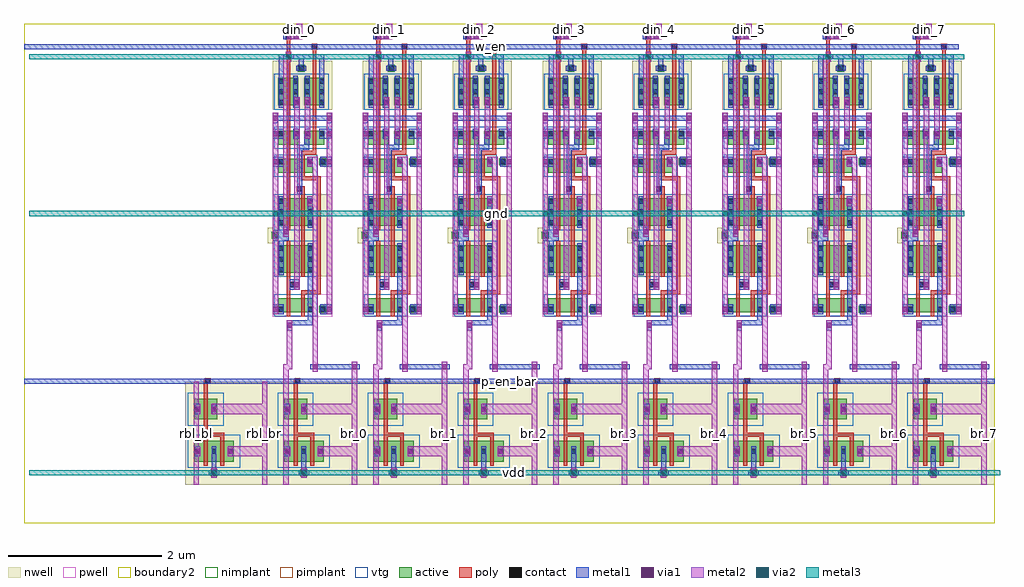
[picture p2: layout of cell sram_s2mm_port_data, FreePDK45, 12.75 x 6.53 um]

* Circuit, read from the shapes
.subckt sram_s2mm_port_data bl_0 bl_1 bl_2 bl_3 bl_4 bl_5 bl_6 bl_7 br_0 br_1 br_2 br_3 br_4 br_5 br_6 br_7 din_0 din_1 din_2 din_3 din_4 din_5 din_6 din_7 gnd p_en_bar rbl_bl rbl_br vdd w_en
M1 n1 n2 gnd gnd nfet w=0.18u l=0.05u
M2 n3 din_0 gnd gnd nfet w=0.18u l=0.05u
M3 n2 din_0 gnd gnd nfet w=0.18u l=0.05u
M4 bl_0 w_en n1 gnd nfet w=0.18u l=0.05u
M5 br_0 w_en n3 gnd nfet w=0.18u l=0.05u
M6 gnd w_en n4 gnd nfet w=0.18u l=0.05u
M7 n5 n6 gnd gnd nfet w=0.18u l=0.05u
M8 n7 din_1 gnd gnd nfet w=0.18u l=0.05u
M9 n6 din_1 gnd gnd nfet w=0.18u l=0.05u
M10 bl_1 w_en n5 gnd nfet w=0.18u l=0.05u
M11 br_1 w_en n7 gnd nfet w=0.18u l=0.05u
M12 gnd w_en n8 gnd nfet w=0.18u l=0.05u
M13 n9 n10 gnd gnd nfet w=0.18u l=0.05u
M14 n11 din_2 gnd gnd nfet w=0.18u l=0.05u
M15 n10 din_2 gnd gnd nfet w=0.18u l=0.05u
M16 bl_2 w_en n9 gnd nfet w=0.18u l=0.05u
M17 br_2 w_en n11 gnd nfet w=0.18u l=0.05u
M18 gnd w_en n12 gnd nfet w=0.18u l=0.05u
M19 n13 n14 gnd gnd nfet w=0.18u l=0.05u
M20 n15 din_3 gnd gnd nfet w=0.18u l=0.05u
M21 n14 din_3 gnd gnd nfet w=0.18u l=0.05u
M22 bl_3 w_en n13 gnd nfet w=0.18u l=0.05u
M23 br_3 w_en n15 gnd nfet w=0.18u l=0.05u
M24 gnd w_en n16 gnd nfet w=0.18u l=0.05u
M25 n17 n18 gnd gnd nfet w=0.18u l=0.05u
M26 n19 din_4 gnd gnd nfet w=0.18u l=0.05u
M27 n18 din_4 gnd gnd nfet w=0.18u l=0.05u
M28 bl_4 w_en n17 gnd nfet w=0.18u l=0.05u
M29 br_4 w_en n19 gnd nfet w=0.18u l=0.05u
M30 gnd w_en n20 gnd nfet w=0.18u l=0.05u
M31 n21 n22 gnd gnd nfet w=0.18u l=0.05u
M32 n23 din_5 gnd gnd nfet w=0.18u l=0.05u
M33 n22 din_5 gnd gnd nfet w=0.18u l=0.05u
M34 bl_5 w_en n21 gnd nfet w=0.18u l=0.05u
M35 br_5 w_en n23 gnd nfet w=0.18u l=0.05u
M36 gnd w_en n24 gnd nfet w=0.18u l=0.05u
M37 n25 n26 gnd gnd nfet w=0.18u l=0.05u
M38 n27 din_6 gnd gnd nfet w=0.18u l=0.05u
M39 n26 din_6 gnd gnd nfet w=0.18u l=0.05u
M40 bl_6 w_en n25 gnd nfet w=0.18u l=0.05u
M41 br_6 w_en n27 gnd nfet w=0.18u l=0.05u
M42 gnd w_en n28 gnd nfet w=0.18u l=0.05u
M43 n29 n30 gnd gnd nfet w=0.18u l=0.05u
M44 n31 din_7 gnd gnd nfet w=0.18u l=0.05u
M45 n30 din_7 gnd gnd nfet w=0.18u l=0.05u
M46 bl_7 w_en n29 gnd nfet w=0.18u l=0.05u
M47 br_7 w_en n31 gnd nfet w=0.18u l=0.05u
M48 gnd w_en n32 gnd nfet w=0.18u l=0.05u
M49 vdd p_en_bar rbl_bl vdd pfet w=0.27u l=0.05u
M50 rbl_br p_en_bar rbl_bl vdd pfet w=0.27u l=0.05u
M51 rbl_br p_en_bar vdd vdd pfet w=0.27u l=0.05u
M52 n33 n2 vdd vdd pfet w=0.36u l=0.05u
M53 n34 din_0 vdd vdd pfet w=0.36u l=0.05u
M54 n2 din_0 vdd vdd pfet w=0.36u l=0.05u
M55 vdd p_en_bar bl_0 vdd pfet w=0.27u l=0.05u
M56 br_0 p_en_bar bl_0 vdd pfet w=0.27u l=0.05u
M57 bl_0 n4 n33 vdd pfet w=0.36u l=0.05u
M58 br_0 n4 n34 vdd pfet w=0.36u l=0.05u
M59 br_0 p_en_bar vdd vdd pfet w=0.27u l=0.05u
M60 vdd w_en n4 vdd pfet w=0.36u l=0.05u
M61 n35 n6 vdd vdd pfet w=0.36u l=0.05u
M62 n36 din_1 vdd vdd pfet w=0.36u l=0.05u
M63 n6 din_1 vdd vdd pfet w=0.36u l=0.05u
M64 vdd p_en_bar bl_1 vdd pfet w=0.27u l=0.05u
M65 br_1 p_en_bar bl_1 vdd pfet w=0.27u l=0.05u
M66 bl_1 n8 n35 vdd pfet w=0.36u l=0.05u
M67 br_1 n8 n36 vdd pfet w=0.36u l=0.05u
M68 br_1 p_en_bar vdd vdd pfet w=0.27u l=0.05u
M69 vdd w_en n8 vdd pfet w=0.36u l=0.05u
M70 n37 n10 vdd vdd pfet w=0.36u l=0.05u
M71 n38 din_2 vdd vdd pfet w=0.36u l=0.05u
M72 n10 din_2 vdd vdd pfet w=0.36u l=0.05u
M73 vdd p_en_bar bl_2 vdd pfet w=0.27u l=0.05u
M74 br_2 p_en_bar bl_2 vdd pfet w=0.27u l=0.05u
M75 bl_2 n12 n37 vdd pfet w=0.36u l=0.05u
M76 br_2 n12 n38 vdd pfet w=0.36u l=0.05u
M77 br_2 p_en_bar vdd vdd pfet w=0.27u l=0.05u
M78 vdd w_en n12 vdd pfet w=0.36u l=0.05u
M79 n39 n14 vdd vdd pfet w=0.36u l=0.05u
M80 n40 din_3 vdd vdd pfet w=0.36u l=0.05u
M81 n14 din_3 vdd vdd pfet w=0.36u l=0.05u
M82 vdd p_en_bar bl_3 vdd pfet w=0.27u l=0.05u
M83 br_3 p_en_bar bl_3 vdd pfet w=0.27u l=0.05u
M84 bl_3 n16 n39 vdd pfet w=0.36u l=0.05u
M85 br_3 n16 n40 vdd pfet w=0.36u l=0.05u
M86 br_3 p_en_bar vdd vdd pfet w=0.27u l=0.05u
M87 vdd w_en n16 vdd pfet w=0.36u l=0.05u
M88 n41 n18 vdd vdd pfet w=0.36u l=0.05u
M89 n42 din_4 vdd vdd pfet w=0.36u l=0.05u
M90 n18 din_4 vdd vdd pfet w=0.36u l=0.05u
M91 vdd p_en_bar bl_4 vdd pfet w=0.27u l=0.05u
M92 br_4 p_en_bar bl_4 vdd pfet w=0.27u l=0.05u
M93 bl_4 n20 n41 vdd pfet w=0.36u l=0.05u
M94 br_4 n20 n42 vdd pfet w=0.36u l=0.05u
M95 br_4 p_en_bar vdd vdd pfet w=0.27u l=0.05u
M96 vdd w_en n20 vdd pfet w=0.36u l=0.05u
M97 n43 n22 vdd vdd pfet w=0.36u l=0.05u
M98 n44 din_5 vdd vdd pfet w=0.36u l=0.05u
M99 n22 din_5 vdd vdd pfet w=0.36u l=0.05u
M100 vdd p_en_bar bl_5 vdd pfet w=0.27u l=0.05u
M101 br_5 p_en_bar bl_5 vdd pfet w=0.27u l=0.05u
M102 bl_5 n24 n43 vdd pfet w=0.36u l=0.05u
M103 br_5 n24 n44 vdd pfet w=0.36u l=0.05u
M104 br_5 p_en_bar vdd vdd pfet w=0.27u l=0.05u
M105 vdd w_en n24 vdd pfet w=0.36u l=0.05u
M106 n45 n26 vdd vdd pfet w=0.36u l=0.05u
M107 n46 din_6 vdd vdd pfet w=0.36u l=0.05u
M108 n26 din_6 vdd vdd pfet w=0.36u l=0.05u
M109 vdd p_en_bar bl_6 vdd pfet w=0.27u l=0.05u
M110 br_6 p_en_bar bl_6 vdd pfet w=0.27u l=0.05u
M111 bl_6 n28 n45 vdd pfet w=0.36u l=0.05u
M112 br_6 n28 n46 vdd pfet w=0.36u l=0.05u
M113 br_6 p_en_bar vdd vdd pfet w=0.27u l=0.05u
M114 vdd w_en n28 vdd pfet w=0.36u l=0.05u
M115 n47 n30 vdd vdd pfet w=0.36u l=0.05u
M116 n48 din_7 vdd vdd pfet w=0.36u l=0.05u
M117 n30 din_7 vdd vdd pfet w=0.36u l=0.05u
M118 vdd p_en_bar bl_7 vdd pfet w=0.27u l=0.05u
M119 br_7 p_en_bar bl_7 vdd pfet w=0.27u l=0.05u
M120 bl_7 n32 n47 vdd pfet w=0.36u l=0.05u
M121 br_7 n32 n48 vdd pfet w=0.36u l=0.05u
M122 br_7 p_en_bar vdd vdd pfet w=0.27u l=0.05u
M123 vdd w_en n32 vdd pfet w=0.36u l=0.05u
.ends

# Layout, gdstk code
import gdstk
lib = gdstk.Library(unit=1e-6, precision=5e-10)
def R(c, l, rs):  # rectangles x0, y0, x1, y1
    for r in rs: c.add(gdstk.rectangle(r[:2], r[2:], *l))
def A(c, l, x, y, w, h, nx, ny, dx, dy):  # array of equal rectangles
    R(c, l, [(x+i*dx, y+j*dy, x+i*dx+w, y+j*dy+h) for i in range(nx) for j in range(ny)])
active = (1, 0)
pwell = (2, 0)
nwell = (3, 0)
nimplant = (4, 0)
pimplant = (5, 0)
vtg = (6, 0)
poly = (9, 0)
contact = (10, 0)
metal1 = (11, 0)
via1 = (12, 0)
metal2 = (13, 0)
via2 = (14, 0)
metal3 = (15, 0)
boundary2 = (239, 0)

sram_s2mm_contact_11 = lib.new_cell('sram_s2mm_contact_11')
R(sram_s2mm_contact_11, active, [(0,0.0225,0.09,0.1125)])
R(sram_s2mm_contact_11, nwell, [(-0.055,-0.0325,0.145,0.1675)])
R(sram_s2mm_contact_11, pimplant, [(0,0.0225,0.09,0.1125)])
R(sram_s2mm_contact_11, contact, [(0.0125,0.035,0.0775,0.1)])
R(sram_s2mm_contact_11, metal1, [(0.0125,0,0.0775,0.135)])
R(sram_s2mm_contact_11, boundary2, [(-0.055,-0.0325,0.145,0.1675)])

sram_s2mm_pmos_m1_w0_270 = lib.new_cell('sram_s2mm_pmos_m1_w0_270_sm1_dm1')
R(sram_s2mm_pmos_m1_w0_270, active, [(0,0,0.305,0.27)])
R(sram_s2mm_pmos_m1_w0_270, nwell, [(-0.08,-0.08,0.385,0.35)])
R(sram_s2mm_pmos_m1_w0_270, pimplant, [(0,0,0.305,0.27)])
R(sram_s2mm_pmos_m1_w0_270, vtg, [(-0.08,-0.08,0.385,0.35)])
R(sram_s2mm_pmos_m1_w0_270, poly, [(0.1275,-0.055,0.1775,0.325), (0.1275,-0.055,0.1775,0.325)])
R(sram_s2mm_pmos_m1_w0_270, metal1, [(0.0125,0.0675,0.0775,0.2025), (0.2275,0.0675,0.2925,0.2025)])
R(sram_s2mm_pmos_m1_w0_270, boundary2, [(-0.08,-0.08,0.385,0.35)])
sram_s2mm_pmos_m1_w0_270.add(gdstk.Reference(sram_s2mm_contact_11, (0,0.0675)))
sram_s2mm_pmos_m1_w0_270.add(gdstk.Reference(sram_s2mm_contact_11, (0.215,0.0675)))
sram_s2mm_pmos_m1_w0_270.add(gdstk.Label('G', (0.1525,0.135), layer=9, texttype=0))
sram_s2mm_pmos_m1_w0_270.add(gdstk.Label('S', (0.045,0.135), layer=11, texttype=0))
sram_s2mm_pmos_m1_w0_270.add(gdstk.Label('D', (0.26,0.135), layer=11, texttype=0))

sram_s2mm_contact_14 = lib.new_cell('sram_s2mm_contact_14')
R(sram_s2mm_contact_14, poly, [(0.03,0,0.105,0.075)])
R(sram_s2mm_contact_14, contact, [(0.035,0.005,0.1,0.07)])
R(sram_s2mm_contact_14, metal1, [(0,0.005,0.135,0.07)])
R(sram_s2mm_contact_14, boundary2, [(0,0,0.135,0.075)])

sram_s2mm_contact_22 = lib.new_cell('sram_s2mm_contact_22')
R(sram_s2mm_contact_22, active, [(0.0225,0,0.1125,0.09)])
R(sram_s2mm_contact_22, nwell, [(-0.0325,-0.055,0.1675,0.145)])
R(sram_s2mm_contact_22, nimplant, [(0.0225,0,0.1125,0.09)])
R(sram_s2mm_contact_22, contact, [(0.035,0.0125,0.1,0.0775)])
R(sram_s2mm_contact_22, metal1, [(0,0.0125,0.135,0.0775)])
R(sram_s2mm_contact_22, boundary2, [(-0.0325,-0.055,0.1675,0.145)])

sram_s2mm_contact_17 = lib.new_cell('sram_s2mm_contact_17')
R(sram_s2mm_contact_17, metal1, [(0,0.035,0.135,0.1)])
R(sram_s2mm_contact_17, via1, [(0.035,0.035,0.1,0.1)])
R(sram_s2mm_contact_17, metal2, [(0.0325,0,0.1025,0.135)])
R(sram_s2mm_contact_17, boundary2, [(0,0,0.135,0.135)])

sram_s2mm_contact_23 = lib.new_cell('sram_s2mm_contact_23')
R(sram_s2mm_contact_23, metal1, [(0.0025,0,0.0675,0.135)])
R(sram_s2mm_contact_23, via1, [(0.0025,0.035,0.0675,0.1)])
R(sram_s2mm_contact_23, metal2, [(0,0,0.07,0.135)])
R(sram_s2mm_contact_23, boundary2, [(0,0,0.07,0.135)])

sram_s2mm_precharge_0 = lib.new_cell('sram_s2mm_precharge_0')
R(sram_s2mm_precharge_0, nwell, [(0,0,1.175,1.34)])
R(sram_s2mm_precharge_0, poly, [(0.24,-0.0375,0.29,0.0125), (0.265,-0.0375,0.29,0.0125), (0.24,-0.0125,0.29,0.165), (0.24,0.545,0.29,0.715), (0.24,0.665,0.505,0.715)])
R(sram_s2mm_precharge_0, metal1, [(0,-0.045,1.175,0.02), (0.34,0.905,0.405,1.185), (0.34,1.1525,0.405,1.2175)])
R(sram_s2mm_precharge_0, metal2, [(0.105,0,0.175,1.34), (0.105,0,0.175,1.34), (1,0,1.07,1.34), (1,0,1.07,1.34), (0.14,0.2875,0.1575,0.4225), (0.3725,0.2875,1.035,0.4225), (0.14,0.8375,0.1575,0.9725), (0.5875,0.8375,1.035,0.9725)])
R(sram_s2mm_precharge_0, boundary2, [(0,0,1.175,1.34)])
sram_s2mm_precharge_0.add(gdstk.Reference(sram_s2mm_pmos_m1_w0_270, (0.1125,0.22)))
sram_s2mm_precharge_0.add(gdstk.Reference(sram_s2mm_pmos_m1_w0_270, (0.1125,0.77)))
sram_s2mm_precharge_0.add(gdstk.Reference(sram_s2mm_pmos_m1_w0_270, (0.3275,0.77)))
sram_s2mm_precharge_0.add(gdstk.Reference(sram_s2mm_contact_14, (0.2225,-0.05)))
sram_s2mm_precharge_0.add(gdstk.Reference(sram_s2mm_contact_22, (0.305,1.14)))
sram_s2mm_precharge_0.add(gdstk.Reference(sram_s2mm_contact_17, (0.305,1.1175)))
sram_s2mm_precharge_0.add(gdstk.Reference(sram_s2mm_contact_23, (0.1225,0.2875)))
sram_s2mm_precharge_0.add(gdstk.Reference(sram_s2mm_contact_23, (0.3375,0.2875)))
sram_s2mm_precharge_0.add(gdstk.Reference(sram_s2mm_contact_23, (0.1225,0.8375)))
sram_s2mm_precharge_0.add(gdstk.Reference(sram_s2mm_contact_23, (0.5525,0.8375)))
sram_s2mm_precharge_0.add(gdstk.Label('en_bar', (0.5875,-0.0125), layer=11, texttype=0))
sram_s2mm_precharge_0.add(gdstk.Label('vdd', (0.3725,1.185), layer=11, texttype=0))
sram_s2mm_precharge_0.add(gdstk.Label('bl', (0.14,0.67), layer=13, texttype=0))
sram_s2mm_precharge_0.add(gdstk.Label('br', (1.035,0.67), layer=13, texttype=0))

sram_s2mm_contact_18 = lib.new_cell('sram_s2mm_contact_18')
R(sram_s2mm_contact_18, metal2, [(0.0325,0,0.1025,0.135)])
R(sram_s2mm_contact_18, via2, [(0.035,0.035,0.1,0.1)])
R(sram_s2mm_contact_18, metal3, [(0,0.0325,0.135,0.1025)])
R(sram_s2mm_contact_18, boundary2, [(0,0,0.135,0.135)])

sram_s2mm_precharge_arra = lib.new_cell('sram_s2mm_precharge_array')
R(sram_s2mm_precharge_arra, metal1, [(0,-0.045,12.685,0.02), (2.665,-0.045,2.73,0.02), (2.665,-0.045,2.73,0.02), (3.84,-0.045,3.905,0.02), (3.84,-0.045,3.905,0.02), (5.015,-0.045,5.08,0.02), (5.015,-0.045,5.08,0.02), (6.19,-0.045,6.255,0.02), (6.19,-0.045,6.255,0.02), (7.365,-0.045,7.43,0.02), (7.365,-0.045,7.43,0.02), (8.54,-0.045,8.605,0.02), (8.54,-0.045,8.605,0.02), (9.715,-0.045,9.78,0.02), (9.715,-0.045,9.78,0.02), (10.89,-0.045,10.955,0.02), (10.89,-0.045,10.955,0.02), (12.065,-0.045,12.13,0.02), (12.065,-0.045,12.13,0.02)])
R(sram_s2mm_precharge_arra, metal2, [(2.215,0,2.285,1.34), (3.11,0,3.18,1.34), (3.39,0,3.46,1.34), (4.285,0,4.355,1.34), (4.565,0,4.635,1.34), (5.46,0,5.53,1.34), (5.74,0,5.81,1.34), (6.635,0,6.705,1.34), (6.915,0,6.985,1.34), (7.81,0,7.88,1.34), (8.09,0,8.16,1.34), (8.985,0,9.055,1.34), (9.265,0,9.335,1.34), (10.16,0,10.23,1.34), (10.44,0,10.51,1.34), (11.335,0,11.405,1.34), (11.615,0,11.685,1.34), (12.51,0,12.58,1.34)])
R(sram_s2mm_precharge_arra, metal3, [(0.0675,1.15,12.7525,1.22)])
R(sram_s2mm_precharge_arra, boundary2, [(0,0,12.685,1.34)])
sram_s2mm_precharge_arra.add(gdstk.Reference(sram_s2mm_precharge_0, (2.11,0)))
sram_s2mm_precharge_arra.add(gdstk.Reference(sram_s2mm_precharge_0, (3.285,0)))
sram_s2mm_precharge_arra.add(gdstk.Reference(sram_s2mm_precharge_0, (4.46,0)))
sram_s2mm_precharge_arra.add(gdstk.Reference(sram_s2mm_precharge_0, (5.635,0)))
sram_s2mm_precharge_arra.add(gdstk.Reference(sram_s2mm_precharge_0, (6.81,0)))
sram_s2mm_precharge_arra.add(gdstk.Reference(sram_s2mm_precharge_0, (7.985,0)))
sram_s2mm_precharge_arra.add(gdstk.Reference(sram_s2mm_precharge_0, (9.16,0)))
sram_s2mm_precharge_arra.add(gdstk.Reference(sram_s2mm_precharge_0, (10.335,0)))
sram_s2mm_precharge_arra.add(gdstk.Reference(sram_s2mm_precharge_0, (11.51,0)))
sram_s2mm_precharge_arra.add(gdstk.Reference(sram_s2mm_contact_17, (2.415,1.1175)))
sram_s2mm_precharge_arra.add(gdstk.Reference(sram_s2mm_contact_18, (2.415,1.1175)))
sram_s2mm_precharge_arra.add(gdstk.Reference(sram_s2mm_contact_17, (3.59,1.1175)))
sram_s2mm_precharge_arra.add(gdstk.Reference(sram_s2mm_contact_18, (3.59,1.1175)))
sram_s2mm_precharge_arra.add(gdstk.Reference(sram_s2mm_contact_17, (4.765,1.1175)))
sram_s2mm_precharge_arra.add(gdstk.Reference(sram_s2mm_contact_18, (4.765,1.1175)))
sram_s2mm_precharge_arra.add(gdstk.Reference(sram_s2mm_contact_17, (5.94,1.1175)))
sram_s2mm_precharge_arra.add(gdstk.Reference(sram_s2mm_contact_18, (5.94,1.1175)))
sram_s2mm_precharge_arra.add(gdstk.Reference(sram_s2mm_contact_17, (7.115,1.1175)))
sram_s2mm_precharge_arra.add(gdstk.Reference(sram_s2mm_contact_18, (7.115,1.1175)))
sram_s2mm_precharge_arra.add(gdstk.Reference(sram_s2mm_contact_17, (8.29,1.1175)))
sram_s2mm_precharge_arra.add(gdstk.Reference(sram_s2mm_contact_18, (8.29,1.1175)))
sram_s2mm_precharge_arra.add(gdstk.Reference(sram_s2mm_contact_17, (9.465,1.1175)))
sram_s2mm_precharge_arra.add(gdstk.Reference(sram_s2mm_contact_18, (9.465,1.1175)))
sram_s2mm_precharge_arra.add(gdstk.Reference(sram_s2mm_contact_17, (10.64,1.1175)))
sram_s2mm_precharge_arra.add(gdstk.Reference(sram_s2mm_contact_18, (10.64,1.1175)))
sram_s2mm_precharge_arra.add(gdstk.Reference(sram_s2mm_contact_17, (11.815,1.1175)))
sram_s2mm_precharge_arra.add(gdstk.Reference(sram_s2mm_contact_18, (11.815,1.1175)))
sram_s2mm_precharge_arra.add(gdstk.Label('en_bar', (6.3425,-0.0125), layer=11, texttype=0))
sram_s2mm_precharge_arra.add(gdstk.Label('bl_0', (2.25,0.67), layer=13, texttype=0))
sram_s2mm_precharge_arra.add(gdstk.Label('br_0', (3.145,0.67), layer=13, texttype=0))
sram_s2mm_precharge_arra.add(gdstk.Label('bl_1', (3.425,0.67), layer=13, texttype=0))
sram_s2mm_precharge_arra.add(gdstk.Label('br_1', (4.32,0.67), layer=13, texttype=0))
sram_s2mm_precharge_arra.add(gdstk.Label('bl_2', (4.6,0.67), layer=13, texttype=0))
sram_s2mm_precharge_arra.add(gdstk.Label('br_2', (5.495,0.67), layer=13, texttype=0))
sram_s2mm_precharge_arra.add(gdstk.Label('bl_3', (5.775,0.67), layer=13, texttype=0))
sram_s2mm_precharge_arra.add(gdstk.Label('br_3', (6.67,0.67), layer=13, texttype=0))
sram_s2mm_precharge_arra.add(gdstk.Label('bl_4', (6.95,0.67), layer=13, texttype=0))
sram_s2mm_precharge_arra.add(gdstk.Label('br_4', (7.845,0.67), layer=13, texttype=0))
sram_s2mm_precharge_arra.add(gdstk.Label('bl_5', (8.125,0.67), layer=13, texttype=0))
sram_s2mm_precharge_arra.add(gdstk.Label('br_5', (9.02,0.67), layer=13, texttype=0))
sram_s2mm_precharge_arra.add(gdstk.Label('bl_6', (9.3,0.67), layer=13, texttype=0))
sram_s2mm_precharge_arra.add(gdstk.Label('br_6', (10.195,0.67), layer=13, texttype=0))
sram_s2mm_precharge_arra.add(gdstk.Label('bl_7', (10.475,0.67), layer=13, texttype=0))
sram_s2mm_precharge_arra.add(gdstk.Label('br_7', (11.37,0.67), layer=13, texttype=0))
sram_s2mm_precharge_arra.add(gdstk.Label('bl_8', (11.65,0.67), layer=13, texttype=0))
sram_s2mm_precharge_arra.add(gdstk.Label('br_8', (12.545,0.67), layer=13, texttype=0))
sram_s2mm_precharge_arra.add(gdstk.Label('vdd', (6.41,1.185), layer=15, texttype=0))

write_driver = lib.new_cell('write_driver')
R(write_driver, active, [(0.2925,0.535,0.3825,0.625), (0.04,0.705,0.115,1.065), (0.04,0.705,0.115,1.065), (0.04,0.705,0.3,1.065), (0.225,0.705,0.3,1.065), (0.225,0.705,0.3,1.065), (0.38,0.705,0.455,1.065), (0.38,0.705,0.455,1.065), (0.38,0.705,0.64,1.065), (0.565,0.705,0.64,1.065), (0.565,0.705,0.64,1.065), (0.04,0.71,0.115,1.065), (0.225,0.71,0.3,1.065), (0.38,0.71,0.455,1.065), (0.565,0.71,0.64,1.065), (0.04,1.4,0.115,1.58), (0.04,1.4,0.115,1.58), (0.04,1.4,0.3,1.58), (0.04,1.4,0.115,1.475), (0.225,1.4,0.3,1.58), (0.225,1.4,0.3,1.58), (0.225,1.4,0.3,1.475), (0.38,1.4,0.455,1.58), (0.38,1.4,0.455,1.58), (0.38,1.4,0.64,1.58), (0.38,1.4,0.455,1.475), (0.565,1.4,0.64,1.58), (0.565,1.4,0.64,1.58), (0.565,1.4,0.64,1.475), (0.5725,1.7575,0.6625,1.8475), (0.04,1.765,0.115,1.945), (0.04,1.765,0.115,1.945), (0.04,1.765,0.115,1.84), (0.04,1.765,0.49,1.945), (0.1975,1.765,0.3375,1.945), (0.415,1.765,0.49,1.945), (0.415,1.765,0.49,1.945), (0.415,1.765,0.49,1.84), (0.04,2.28,0.115,2.64), (0.04,2.28,0.115,2.64), (0.04,2.28,0.115,2.635), (0.04,2.28,0.49,2.64), (0.1975,2.28,0.3375,2.64), (0.415,2.28,0.49,2.64), (0.415,2.28,0.49,2.64), (0.415,2.28,0.49,2.635), (-0.045,2.72,0.045,2.81), (0.04,2.8925,0.115,3.2525), (0.04,2.8925,0.115,3.2525), (0.04,2.8925,0.49,3.2525), (0.1925,2.8925,0.3325,3.2525), (0.415,2.8925,0.49,3.2525), (0.415,2.8925,0.49,3.2525), (0.04,2.8975,0.115,3.2525), (0.415,2.8975,0.49,3.2525), (0.04,3.5875,0.115,3.7675), (0.04,3.5875,0.115,3.7675), (0.04,3.5875,0.49,3.7675), (0.1925,3.5875,0.3325,3.7675), (0.415,3.5875,0.49,3.7675), (0.415,3.5875,0.49,3.7675), (0.575,3.685,0.665,3.775), (0.04,3.6925,0.115,3.7675), (0.415,3.6925,0.49,3.7675)])
R(write_driver, pwell, [(-0.035,1.345,0.74,2), (-0.015,1.345,0.355,1.635), (0.325,1.345,0.695,1.635), (0.5175,1.7025,0.7175,1.9025), (-0.015,1.71,0.545,2), (-0.035,3.5325,0.74,3.83), (-0.015,3.5325,0.545,3.8225), (0.52,3.63,0.72,3.83)])
R(write_driver, nwell, [(-0.035,0.48,0.74,1.12), (0.2375,0.48,0.4375,0.68), (-0.015,0.65,0.355,1.12), (0.325,0.65,0.695,1.12), (-0.035,2.225,0.74,3.3), (-0.015,2.225,0.545,2.695), (-0.1,2.665,0.1,2.865), (-0.015,2.8375,0.545,3.3075)])
R(write_driver, nimplant, [(0.2925,0.535,0.3825,0.625), (0.04,1.4,0.3,1.58), (0.38,1.4,0.64,1.58), (0.04,1.765,0.49,1.945), (-0.045,2.72,0.045,2.81), (0.04,3.5875,0.49,3.7675)])
R(write_driver, pimplant, [(0.04,0.705,0.3,1.065), (0.38,0.705,0.64,1.065), (0.5725,1.7575,0.6625,1.8475), (0.04,2.28,0.49,2.64), (0.04,2.8925,0.49,3.2525), (0.575,3.685,0.665,3.775)])
R(write_driver, vtg, [(-0.015,0.65,0.355,1.12), (0.325,0.65,0.695,1.12), (-0.015,1.345,0.355,1.635), (0.325,1.345,0.695,1.635), (-0.015,1.71,0.545,2), (-0.015,2.225,0.545,2.695), (-0.015,2.8375,0.545,3.3075), (-0.015,3.5325,0.545,3.8225)])
R(write_driver, poly, [(0.1325,0.1325,0.2075,0.2075), (0.145,0.1375,0.195,0.65), (0.4725,0.2625,0.5475,0.3375), (0.485,0.2675,0.535,0.65), (0.145,0.65,0.195,0.705), (0.145,0.65,0.195,1.12), (0.485,0.65,0.535,0.705), (0.485,0.65,0.535,1.12), (0.145,1.065,0.195,1.12), (0.485,1.065,0.535,1.12), (0.145,1.12,0.195,1.345), (0.485,1.12,0.535,1.345), (0.145,1.345,0.195,1.635), (0.145,1.345,0.195,1.4), (0.485,1.345,0.535,1.635), (0.485,1.345,0.535,1.4), (0.145,1.58,0.195,1.635), (0.485,1.58,0.535,1.635), (0.145,1.635,0.195,1.71), (0.485,1.635,0.535,1.66), (0.335,1.66,0.535,1.71), (0.145,1.71,0.195,2), (0.145,1.71,0.195,1.765), (0.335,1.71,0.385,2), (0.335,1.71,0.385,1.765), (0.145,1.945,0.195,2), (0.335,1.945,0.385,2), (0.335,1.995,0.59,2.045), (0.54,1.995,0.59,3.4825), (0.145,2,0.195,2.225), (0.2775,2.12,0.3525,2.195), (0.335,2.12,0.385,2.225), (0.145,2.225,0.195,2.28), (0.145,2.225,0.195,2.695), (0.335,2.225,0.385,2.28), (0.335,2.225,0.385,2.695), (0.145,2.64,0.195,2.695), (0.335,2.64,0.385,2.695), (0.335,2.695,0.385,2.8375), (0.145,2.8375,0.195,2.8925), (0.145,2.8375,0.195,3.3075), (0.335,2.8375,0.385,2.8925), (0.335,2.8375,0.385,3.3075), (0.145,3.2525,0.195,3.3075), (0.335,3.2525,0.385,3.3075), (0.145,3.3075,0.195,3.5325), (0.18,3.37,0.255,3.445), (0.335,3.4825,0.59,3.5325), (0.145,3.5325,0.195,3.8225), (0.145,3.5325,0.195,3.5875), (0.335,3.5325,0.385,3.8225), (0.335,3.5325,0.385,3.5875), (0.145,3.7675,0.195,3.8225), (0.335,3.7675,0.385,3.8225)])
A(write_driver, contact, 0.045, 0.715, 0.065, 0.065, 1, 3, 0, 0.14)
A(write_driver, contact, 0.23, 0.715, 0.065, 0.065, 1, 3, 0, 0.14)
A(write_driver, contact, 0.385, 0.715, 0.065, 0.065, 1, 3, 0, 0.14)
A(write_driver, contact, 0.57, 0.715, 0.065, 0.065, 1, 3, 0, 0.14)
A(write_driver, contact, 0.045, 2.285, 0.065, 0.065, 1, 3, 0, 0.14)
A(write_driver, contact, 0.42, 2.285, 0.065, 0.065, 1, 3, 0, 0.14)
A(write_driver, contact, 0.045, 2.9025, 0.065, 0.065, 1, 3, 0, 0.14)
A(write_driver, contact, 0.42, 2.9025, 0.065, 0.065, 1, 3, 0, 0.14)
R(write_driver, contact, [(0.1375,0.1375,0.2025,0.2025), (0.4775,0.2675,0.5425,0.3325), (0.305,0.5475,0.37,0.6125), (0.045,1.405,0.11,1.47), (0.23,1.405,0.295,1.47), (0.385,1.405,0.45,1.47), (0.57,1.405,0.635,1.47), (0.045,1.77,0.11,1.835), (0.42,1.77,0.485,1.835), (0.585,1.77,0.65,1.835), (0.2825,2.125,0.3475,2.19), (-0.0325,2.7325,0.0325,2.7975), (0.185,3.375,0.25,3.44), (0.045,3.6975,0.11,3.7625), (0.42,3.6975,0.485,3.7625), (0.5875,3.6975,0.6525,3.7625)])
R(write_driver, metal1, [(0.2075,0.135,0.3425,0.2), (0.1025,0.1375,0.2375,0.2025), (0.045,0.2675,0.635,0.3325), (0.045,0.2675,0.635,0.3325), (0.045,0.3975,0.635,0.4625), (0.105,0.3975,0.24,0.4625), (0.045,0.4625,0.11,0.68), (0.3025,0.4625,0.3675,0.6125), (0.57,0.4625,0.635,0.68), (0.27,0.5475,0.405,0.6125), (0.045,0.68,0.11,1.095), (0.23,0.68,0.295,1.095), (0.385,0.68,0.45,1.095), (0.57,0.68,0.635,1.095), (0.2475,0.96,0.3125,1.095), (0.3875,0.96,0.4525,1.095), (-0.0325,1.165,0.0325,1.3), (0.6725,1.165,0.7375,1.3), (-0.035,1.2,0.74,1.265), (-0.0325,1.37,0.0325,1.505), (0.0275,1.37,0.04,1.505), (0.035,1.37,0.045,1.505), (0.045,1.37,0.11,1.505), (0.23,1.37,0.295,1.505), (0.2475,1.37,0.3125,1.505), (0.385,1.37,0.45,1.505), (0.3875,1.37,0.4525,1.505), (0.57,1.37,0.635,1.505), (0.63,1.37,0.6725,1.505), (0.6725,1.37,0.7375,1.505), (0.38,1.4525,0.445,1.5775), (0.2825,1.5775,0.3475,2.175), (0.2825,1.5775,0.445,1.6425), (-0.0325,1.735,0.0325,1.87), (0.0275,1.735,0.04,1.87), (0.035,1.735,0.045,1.87), (0.045,1.735,0.11,1.87), (0.4175,1.735,0.4825,1.87), (0.42,1.735,0.485,1.87), (0.585,1.735,0.65,1.87), (0.65,1.735,0.6725,1.87), (0.6725,1.735,0.7375,1.87), (0.2825,2.09,0.3475,2.225), (0.045,2.25,0.11,2.665), (0.4175,2.25,0.4825,2.385), (0.42,2.25,0.485,2.665), (0.095,2.65,0.11,2.785), (0.1075,2.65,0.1725,2.785), (0.045,2.665,0.11,2.8675), (-0.0325,2.6975,0.0325,2.8325), (0.0325,2.6975,0.175,2.8325), (0.045,2.8675,0.11,3.2825), (0.42,2.8675,0.485,3.2825), (0.42,3.2825,0.485,3.6625), (0.185,3.34,0.25,3.475), (0.2475,3.34,0.3125,3.475), (-0.0325,3.6625,0.0325,3.7975), (0.0275,3.6625,0.04,3.7975), (0.035,3.6625,0.045,3.7975), (0.045,3.6625,0.11,3.7975), (0.42,3.6625,0.485,3.7975), (0.5875,3.6625,0.6525,3.7975), (0.6525,3.6625,0.6725,3.7975), (0.6725,3.6625,0.7375,3.7975), (0.42,3.7975,0.485,3.8725), (0.15,3.8725,0.485,3.9375), (0.1525,3.8725,0.2175,4.0075)])
R(write_driver, via1, [(0.2425,0.135,0.3075,0.2), (0.14,0.3975,0.205,0.4625), (0.2475,0.995,0.3125,1.06), (0.3875,0.995,0.4525,1.06), (-0.0325,1.2,0.0325,1.265), (0.6725,1.2,0.7375,1.265), (-0.0325,1.405,0.0325,1.47), (0.2475,1.405,0.3125,1.47), (0.3875,1.405,0.4525,1.47), (0.6725,1.405,0.7375,1.47), (-0.0325,1.77,0.0325,1.835), (0.4175,1.77,0.4825,1.835), (0.6725,1.77,0.7375,1.835), (0.4175,2.285,0.4825,2.35), (0.1075,2.685,0.1725,2.75), (0.2475,3.375,0.3125,3.44), (-0.0325,3.6975,0.0325,3.7625), (0.6725,3.6975,0.7375,3.7625), (0.1525,3.9075,0.2175,3.9725)])
R(write_driver, metal2, [(0.28,0,0.35,0.14), (0.28,0,0.35,0.14), (0.1575,0.1325,0.35,0.2025), (0.2075,0.1325,0.3425,0.2025), (0.105,0.395,0.24,0.465), (0.105,0.395,0.24,0.465), (0.105,0.465,0.175,2.785), (0.245,0.96,0.315,1.095), (0.385,0.96,0.455,1.095), (0.245,1.095,0.315,1.37), (0.385,1.095,0.455,1.37), (-0.035,1.1625,0.035,3.7975), (-0.035,1.1625,0.035,3.7975), (-0.035,1.165,0.035,1.3), (0.67,1.165,0.74,3.7975), (0.67,1.165,0.74,1.3), (-0.035,1.37,0.035,1.505), (0.245,1.37,0.315,3.4675), (0.245,1.37,0.315,1.505), (0.385,1.37,0.455,1.505), (0.67,1.37,0.74,1.505), (-0.035,1.735,0.035,1.87), (0.415,1.735,0.485,1.87), (0.485,1.735,0.555,4.175), (0.485,1.735,0.555,4.175), (0.67,1.735,0.74,1.87), (0.415,2.25,0.485,2.385), (0.105,2.65,0.175,2.785), (0.245,3.34,0.315,3.475), (-0.035,3.6625,0.035,3.7975), (0.67,3.6625,0.74,3.7975), (0.15,3.8725,0.22,4.0075), (0.15,3.875,0.22,4.175), (0.15,3.875,0.22,4.175)])
R(write_driver, boundary2, [(0,0,0.705,4.175)])
write_driver.add(gdstk.Label('en', (0.3325,0.3), layer=11, texttype=0))
write_driver.add(gdstk.Label('din', (0.32,0.035), layer=13, texttype=0))
write_driver.add(gdstk.Label('vdd', (0.1725,0.4325), layer=13, texttype=0))
write_driver.add(gdstk.Label('br', (0.52,4.15), layer=13, texttype=0))
write_driver.add(gdstk.Label('bl', (0.19,4.138), layer=13, texttype=0))
write_driver.add(gdstk.Label('gnd', (-0.005,1.57), layer=13, texttype=0))
write_driver.add(gdstk.Label('din', (0.315,0.07), layer=13, texttype=0))
write_driver.add(gdstk.Label('bl', (0.185,4.025), layer=13, texttype=0))
write_driver.add(gdstk.Label('br', (0.52,2.955), layer=13, texttype=0))
write_driver.add(gdstk.Label('en', (0.34,0.3), layer=11, texttype=0))
write_driver.add(gdstk.Label('vdd', (0.1725,0.43), layer=13, texttype=0))
write_driver.add(gdstk.Label('gnd', (0,2.48), layer=13, texttype=0))

sram_s2mm_write_driver_a = lib.new_cell('sram_s2mm_write_driver_array')
R(sram_s2mm_write_driver_a, metal1, [(0,0.2675,12.215,0.3325)])
A(sram_s2mm_write_driver_a, metal2, 3.565, 0, 0.07, 0.14, 8, 1, 1.175, 0)
A(sram_s2mm_write_driver_a, metal2, 3.77, 1.735, 0.07, 2.44, 8, 1, 1.175, 0)
A(sram_s2mm_write_driver_a, metal2, 3.435, 3.875, 0.07, 0.3, 8, 1, 1.175, 0)
R(sram_s2mm_write_driver_a, metal3, [(0.0675,0.395,12.2825,0.465), (0.0675,2.445,12.2825,2.515)])
R(sram_s2mm_write_driver_a, boundary2, [(0,0,12.215,4.175)])
sram_s2mm_write_driver_a.add(gdstk.Reference(write_driver, (3.285,0)))
sram_s2mm_write_driver_a.add(gdstk.Reference(write_driver, (4.46,0)))
sram_s2mm_write_driver_a.add(gdstk.Reference(write_driver, (5.635,0)))
sram_s2mm_write_driver_a.add(gdstk.Reference(write_driver, (6.81,0)))
sram_s2mm_write_driver_a.add(gdstk.Reference(write_driver, (7.985,0)))
sram_s2mm_write_driver_a.add(gdstk.Reference(write_driver, (9.16,0)))
sram_s2mm_write_driver_a.add(gdstk.Reference(write_driver, (10.335,0)))
sram_s2mm_write_driver_a.add(gdstk.Reference(write_driver, (11.51,0)))
sram_s2mm_write_driver_a.add(gdstk.Reference(sram_s2mm_contact_18, (3.39,0.3625)))
sram_s2mm_write_driver_a.add(gdstk.Reference(sram_s2mm_contact_18, (4.565,0.3625)))
sram_s2mm_write_driver_a.add(gdstk.Reference(sram_s2mm_contact_18, (5.74,0.3625)))
sram_s2mm_write_driver_a.add(gdstk.Reference(sram_s2mm_contact_18, (6.915,0.3625)))
sram_s2mm_write_driver_a.add(gdstk.Reference(sram_s2mm_contact_18, (8.09,0.3625)))
sram_s2mm_write_driver_a.add(gdstk.Reference(sram_s2mm_contact_18, (9.265,0.3625)))
sram_s2mm_write_driver_a.add(gdstk.Reference(sram_s2mm_contact_18, (10.44,0.3625)))
sram_s2mm_write_driver_a.add(gdstk.Reference(sram_s2mm_contact_18, (11.615,0.3625)))
sram_s2mm_write_driver_a.add(gdstk.Reference(sram_s2mm_contact_18, (3.2175,2.4125)))
sram_s2mm_write_driver_a.add(gdstk.Reference(sram_s2mm_contact_18, (4.3925,2.4125)))
sram_s2mm_write_driver_a.add(gdstk.Reference(sram_s2mm_contact_18, (5.5675,2.4125)))
sram_s2mm_write_driver_a.add(gdstk.Reference(sram_s2mm_contact_18, (6.7425,2.4125)))
sram_s2mm_write_driver_a.add(gdstk.Reference(sram_s2mm_contact_18, (7.9175,2.4125)))
sram_s2mm_write_driver_a.add(gdstk.Reference(sram_s2mm_contact_18, (9.0925,2.4125)))
sram_s2mm_write_driver_a.add(gdstk.Reference(sram_s2mm_contact_18, (10.2675,2.4125)))
sram_s2mm_write_driver_a.add(gdstk.Reference(sram_s2mm_contact_18, (11.4425,2.4125)))
sram_s2mm_write_driver_a.add(gdstk.Label('data_0', (3.6,0.07), layer=13, texttype=0))
sram_s2mm_write_driver_a.add(gdstk.Label('bl_0', (3.47,4.025), layer=13, texttype=0))
sram_s2mm_write_driver_a.add(gdstk.Label('br_0', (3.805,2.955), layer=13, texttype=0))
sram_s2mm_write_driver_a.add(gdstk.Label('data_1', (4.775,0.07), layer=13, texttype=0))
sram_s2mm_write_driver_a.add(gdstk.Label('bl_1', (4.645,4.025), layer=13, texttype=0))
sram_s2mm_write_driver_a.add(gdstk.Label('br_1', (4.98,2.955), layer=13, texttype=0))
sram_s2mm_write_driver_a.add(gdstk.Label('data_2', (5.95,0.07), layer=13, texttype=0))
sram_s2mm_write_driver_a.add(gdstk.Label('bl_2', (5.82,4.025), layer=13, texttype=0))
sram_s2mm_write_driver_a.add(gdstk.Label('br_2', (6.155,2.955), layer=13, texttype=0))
sram_s2mm_write_driver_a.add(gdstk.Label('data_3', (7.125,0.07), layer=13, texttype=0))
sram_s2mm_write_driver_a.add(gdstk.Label('bl_3', (6.995,4.025), layer=13, texttype=0))
sram_s2mm_write_driver_a.add(gdstk.Label('br_3', (7.33,2.955), layer=13, texttype=0))
sram_s2mm_write_driver_a.add(gdstk.Label('data_4', (8.3,0.07), layer=13, texttype=0))
sram_s2mm_write_driver_a.add(gdstk.Label('bl_4', (8.17,4.025), layer=13, texttype=0))
sram_s2mm_write_driver_a.add(gdstk.Label('br_4', (8.505,2.955), layer=13, texttype=0))
sram_s2mm_write_driver_a.add(gdstk.Label('data_5', (9.475,0.07), layer=13, texttype=0))
sram_s2mm_write_driver_a.add(gdstk.Label('bl_5', (9.345,4.025), layer=13, texttype=0))
sram_s2mm_write_driver_a.add(gdstk.Label('br_5', (9.68,2.955), layer=13, texttype=0))
sram_s2mm_write_driver_a.add(gdstk.Label('data_6', (10.65,0.07), layer=13, texttype=0))
sram_s2mm_write_driver_a.add(gdstk.Label('bl_6', (10.52,4.025), layer=13, texttype=0))
sram_s2mm_write_driver_a.add(gdstk.Label('br_6', (10.855,2.955), layer=13, texttype=0))
sram_s2mm_write_driver_a.add(gdstk.Label('data_7', (11.825,0.07), layer=13, texttype=0))
sram_s2mm_write_driver_a.add(gdstk.Label('bl_7', (11.695,4.025), layer=13, texttype=0))
sram_s2mm_write_driver_a.add(gdstk.Label('br_7', (12.03,2.955), layer=13, texttype=0))
sram_s2mm_write_driver_a.add(gdstk.Label('en', (6.1075,0.3), layer=11, texttype=0))
sram_s2mm_write_driver_a.add(gdstk.Label('vdd', (6.175,0.43), layer=15, texttype=0))
sram_s2mm_write_driver_a.add(gdstk.Label('gnd', (6.175,2.48), layer=15, texttype=0))

sram_s2mm_port_data = lib.new_cell('sram_s2mm_port_data')
A(sram_s2mm_port_data, metal1, 3.805, 2.0125, 0.515, 0.065, 8, 1, 1.175, 0)
R(sram_s2mm_port_data, metal1, [(0,1.825,12.685,1.89), (0,6.1925,12.215,6.2575)])
A(sram_s2mm_port_data, metal2, 3.39, 2.01, 0.115, 0.07, 8, 1, 1.175, 0)
A(sram_s2mm_port_data, metal2, 3.565, 6.385, 0.07, 0.14, 8, 1, 1.175, 0)
R(sram_s2mm_port_data, metal2, [(2.215,0.505,2.285,1.845), (3.11,0.505,3.18,1.845), (3.39,0.505,3.46,1.845), (4.285,0.505,4.355,1.845), (4.565,0.505,4.635,1.845), (5.46,0.505,5.53,1.845), (5.74,0.505,5.81,1.845), (6.635,0.505,6.705,1.845), (6.915,0.505,6.985,1.845), (7.81,0.505,7.88,1.845), (8.09,0.505,8.16,1.845), (8.985,0.505,9.055,1.845), (9.265,0.505,9.335,1.845), (10.16,0.505,10.23,1.845), (10.44,0.505,10.51,1.845), (11.335,0.505,11.405,1.845), (11.615,0.505,11.685,1.845), (12.51,0.505,12.58,1.845), (3.39,1.81,3.46,1.88), (4.285,1.81,4.355,1.88), (4.565,1.81,4.635,1.88), (5.46,1.81,5.53,1.88), (5.74,1.81,5.81,1.88), (6.635,1.81,6.705,1.88), (6.915,1.81,6.985,1.88), (7.81,1.81,7.88,1.88), (8.09,1.81,8.16,1.88), (8.985,1.81,9.055,1.88), (9.265,1.81,9.335,1.88), (10.16,1.81,10.23,1.88), (10.44,1.81,10.51,1.88), (11.335,1.81,11.405,1.88), (11.615,1.81,11.685,1.88), (12.51,1.81,12.58,1.88), (3.39,1.845,3.46,2.045), (3.39,1.845,3.46,2.045), (4.285,1.845,4.355,2.045), (4.565,1.845,4.635,2.045), (4.565,1.845,4.635,2.045), (5.46,1.845,5.53,2.045), (5.74,1.845,5.81,2.045), (5.74,1.845,5.81,2.045), (6.635,1.845,6.705,2.045), (6.915,1.845,6.985,2.045), (6.915,1.845,6.985,2.045), (7.81,1.845,7.88,2.045), (8.09,1.845,8.16,2.045), (8.09,1.845,8.16,2.045), (8.985,1.845,9.055,2.045), (9.265,1.845,9.335,2.045), (9.265,1.845,9.335,2.045), (10.16,1.845,10.23,2.045), (10.44,1.845,10.51,2.045), (10.44,1.845,10.51,2.045), (11.335,1.845,11.405,2.045), (11.615,1.845,11.685,2.045), (11.615,1.845,11.685,2.045), (12.51,1.845,12.58,2.045), (3.435,2.045,3.505,2.35), (3.435,2.045,3.505,2.35), (3.77,2.045,3.84,2.35), (4.61,2.045,4.68,2.35), (4.61,2.045,4.68,2.35), (4.945,2.045,5.015,2.35), (5.785,2.045,5.855,2.35), (5.785,2.045,5.855,2.35), (6.12,2.045,6.19,2.35), (6.96,2.045,7.03,2.35), (6.96,2.045,7.03,2.35), (7.295,2.045,7.365,2.35), (8.135,2.045,8.205,2.35), (8.135,2.045,8.205,2.35), (8.47,2.045,8.54,2.35), (9.31,2.045,9.38,2.35), (9.31,2.045,9.38,2.35), (9.645,2.045,9.715,2.35), (10.485,2.045,10.555,2.35), (10.485,2.045,10.555,2.35), (10.82,2.045,10.89,2.35), (11.66,2.045,11.73,2.35), (11.66,2.045,11.73,2.35), (11.995,2.045,12.065,2.35), (3.435,2.315,3.505,2.385), (3.77,2.315,3.84,2.385), (4.61,2.315,4.68,2.385), (4.945,2.315,5.015,2.385), (5.785,2.315,5.855,2.385), (6.12,2.315,6.19,2.385), (6.96,2.315,7.03,2.385), (7.295,2.315,7.365,2.385), (8.135,2.315,8.205,2.385), (8.47,2.315,8.54,2.385), (9.31,2.315,9.38,2.385), (9.645,2.315,9.715,2.385), (10.485,2.315,10.555,2.385), (10.82,2.315,10.89,2.385), (11.66,2.315,11.73,2.385), (11.995,2.315,12.065,2.385)])
R(sram_s2mm_port_data, metal3, [(0.0675,0.625,12.7525,0.695), (0.0675,4.01,12.2825,4.08), (0.0675,6.06,12.2825,6.13)])
R(sram_s2mm_port_data, boundary2, [(0,0,12.685,6.525)])
sram_s2mm_port_data.add(gdstk.Reference(sram_s2mm_precharge_arra, (0,1.845), x_reflection=True))
sram_s2mm_port_data.add(gdstk.Reference(sram_s2mm_write_driver_a, (0,6.525), x_reflection=True))
sram_s2mm_port_data.add(gdstk.Reference(sram_s2mm_contact_17, (4.2525,1.9775)))
sram_s2mm_port_data.add(gdstk.Reference(sram_s2mm_contact_17, (3.7375,1.9775)))
sram_s2mm_port_data.add(gdstk.Reference(sram_s2mm_contact_17, (5.4275,1.9775)))
sram_s2mm_port_data.add(gdstk.Reference(sram_s2mm_contact_17, (4.9125,1.9775)))
sram_s2mm_port_data.add(gdstk.Reference(sram_s2mm_contact_17, (6.6025,1.9775)))
sram_s2mm_port_data.add(gdstk.Reference(sram_s2mm_contact_17, (6.0875,1.9775)))
sram_s2mm_port_data.add(gdstk.Reference(sram_s2mm_contact_17, (7.7775,1.9775)))
sram_s2mm_port_data.add(gdstk.Reference(sram_s2mm_contact_17, (7.2625,1.9775)))
sram_s2mm_port_data.add(gdstk.Reference(sram_s2mm_contact_17, (8.9525,1.9775)))
sram_s2mm_port_data.add(gdstk.Reference(sram_s2mm_contact_17, (8.4375,1.9775)))
sram_s2mm_port_data.add(gdstk.Reference(sram_s2mm_contact_17, (10.1275,1.9775)))
sram_s2mm_port_data.add(gdstk.Reference(sram_s2mm_contact_17, (9.6125,1.9775)))
sram_s2mm_port_data.add(gdstk.Reference(sram_s2mm_contact_17, (11.3025,1.9775)))
sram_s2mm_port_data.add(gdstk.Reference(sram_s2mm_contact_17, (10.7875,1.9775)))
sram_s2mm_port_data.add(gdstk.Reference(sram_s2mm_contact_17, (12.4775,1.9775)))
sram_s2mm_port_data.add(gdstk.Reference(sram_s2mm_contact_17, (11.9625,1.9775)))
sram_s2mm_port_data.add(gdstk.Label('din_0', (3.6,6.455), layer=13, texttype=0))
sram_s2mm_port_data.add(gdstk.Label('din_1', (4.775,6.455), layer=13, texttype=0))
sram_s2mm_port_data.add(gdstk.Label('din_2', (5.95,6.455), layer=13, texttype=0))
sram_s2mm_port_data.add(gdstk.Label('din_3', (7.125,6.455), layer=13, texttype=0))
sram_s2mm_port_data.add(gdstk.Label('din_4', (8.3,6.455), layer=13, texttype=0))
sram_s2mm_port_data.add(gdstk.Label('din_5', (9.475,6.455), layer=13, texttype=0))
sram_s2mm_port_data.add(gdstk.Label('din_6', (10.65,6.455), layer=13, texttype=0))
sram_s2mm_port_data.add(gdstk.Label('din_7', (11.825,6.455), layer=13, texttype=0))
sram_s2mm_port_data.add(gdstk.Label('rbl_bl', (2.25,1.175), layer=13, texttype=0))
sram_s2mm_port_data.add(gdstk.Label('rbl_br', (3.145,1.175), layer=13, texttype=0))
sram_s2mm_port_data.add(gdstk.Label('bl_0', (3.425,1.175), layer=13, texttype=0))
sram_s2mm_port_data.add(gdstk.Label('br_0', (4.32,1.175), layer=13, texttype=0))
sram_s2mm_port_data.add(gdstk.Label('bl_1', (4.6,1.175), layer=13, texttype=0))
sram_s2mm_port_data.add(gdstk.Label('br_1', (5.495,1.175), layer=13, texttype=0))
sram_s2mm_port_data.add(gdstk.Label('bl_2', (5.775,1.175), layer=13, texttype=0))
sram_s2mm_port_data.add(gdstk.Label('br_2', (6.67,1.175), layer=13, texttype=0))
sram_s2mm_port_data.add(gdstk.Label('bl_3', (6.95,1.175), layer=13, texttype=0))
sram_s2mm_port_data.add(gdstk.Label('br_3', (7.845,1.175), layer=13, texttype=0))
sram_s2mm_port_data.add(gdstk.Label('bl_4', (8.125,1.175), layer=13, texttype=0))
sram_s2mm_port_data.add(gdstk.Label('br_4', (9.02,1.175), layer=13, texttype=0))
sram_s2mm_port_data.add(gdstk.Label('bl_5', (9.3,1.175), layer=13, texttype=0))
sram_s2mm_port_data.add(gdstk.Label('br_5', (10.195,1.175), layer=13, texttype=0))
sram_s2mm_port_data.add(gdstk.Label('bl_6', (10.475,1.175), layer=13, texttype=0))
sram_s2mm_port_data.add(gdstk.Label('br_6', (11.37,1.175), layer=13, texttype=0))
sram_s2mm_port_data.add(gdstk.Label('bl_7', (11.65,1.175), layer=13, texttype=0))
sram_s2mm_port_data.add(gdstk.Label('br_7', (12.545,1.175), layer=13, texttype=0))
sram_s2mm_port_data.add(gdstk.Label('p_en_bar', (6.3425,1.8575), layer=11, texttype=0))
sram_s2mm_port_data.add(gdstk.Label('w_en', (6.1075,6.225), layer=11, texttype=0))
sram_s2mm_port_data.add(gdstk.Label('vdd', (6.41,0.66), layer=15, texttype=0))
sram_s2mm_port_data.add(gdstk.Label('vdd', (6.175,6.095), layer=15, texttype=0))
sram_s2mm_port_data.add(gdstk.Label('gnd', (6.175,4.045), layer=15, texttype=0))

lib.write_gds('sram_s2mm_port_data.gds')
